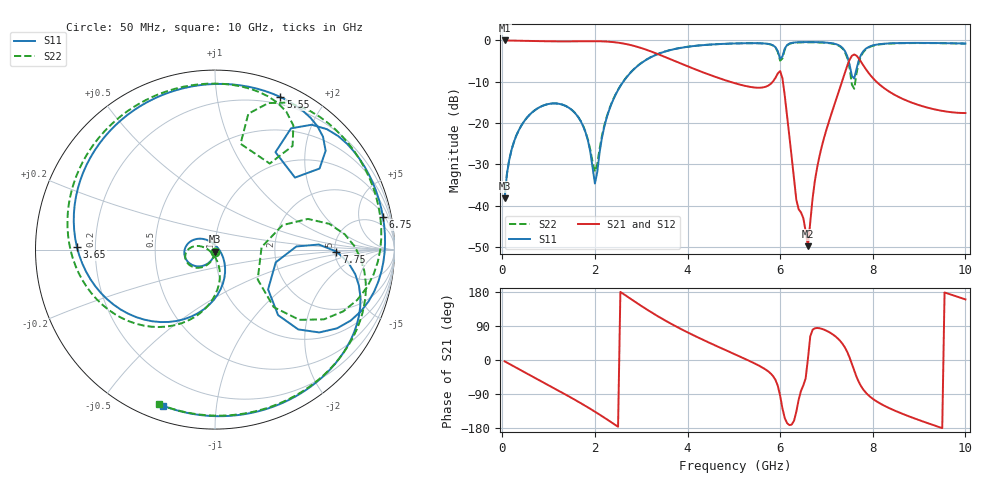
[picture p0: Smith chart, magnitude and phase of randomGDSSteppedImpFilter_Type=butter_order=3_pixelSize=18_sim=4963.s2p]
! freq	dB(S11)	phase(S11)	dB(S12)	phase(S12)
!  dB(S21)	phase(S21)	dB(S22)	phase(S22)
!S-par simulation data
#  GHz  S  DB  R 50
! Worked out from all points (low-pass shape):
!   200 points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, 50 MHz to 10 GHz, reference 50 ohm
!   highest |S21| = -0.01 dB at 50 MHz (marker M1); lowest = -49.9 dB at 6.6 GHz (marker M2)
!   |S21| within 3 dB of the highest: start of sweep to 3.291 GHz
!   lowest |S11| = -38.3 dB at 50 MHz (marker M3), VSWR 1.02, Z = 49.9 - j1.21 ohm
!   |S11| at or under -10 dB: start of sweep to 2.613 GHz
!   |S22| runs from -38.3 to -0.4 dB; largest |S21 - S12| = 0
!   S11 on the Smith chart (normalised r, x): 50 MHz: 1.00, -0.02; 3.65 GHz: 0.13, +0.01; 5.55 GHz: 0.13, +1.51; 6.75 GHz: 2, +10; 7.75 GHz: 5.17, -0.20; 10 GHz: 0.07, -0.72
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0.05  -38.30 -92.6  -0.01 -3.4  -0.01 -3.4  -38.31 -92.3
0.25  -24.63 -107.7  -0.04 -16.9  -0.04 -16.9  -24.63 -106.0
0.65  -17.38 -136.3  -0.14 -43.5  -0.14 -43.5  -17.38 -131.5
1.75  -20.88 138.7  -0.18 -117.9  -0.18 -117.9  -20.80 167.5
2  -34.67 50.8  -0.18 -136.4  -0.18 -136.4  -31.82 -140.7
2.45  -13.07 -81.8  -0.47 -172.1  -0.47 -172.1  -12.98 -86.7
3.4  -3.13 -163.0  -3.49 112.5  -3.49 112.5  -3.10 -154.1
3.65  -2.28 179.0  -4.64 95.2  -4.64 95.2  -2.26 -170.3
4.3  -1.17 137.6  -7.59 55.2  -7.59 55.2  -1.16 151.9
5.05  -0.72 95.0  -10.46 13.5  -10.46 13.5  -0.73 111.9
5.55  -0.68 66.8  -11.46 -15.4  -11.46 -15.4  -0.70 84.1
5.9  -1.66 41.8  -9.03 -52.8  -9.03 -52.8  -1.74 57.7
6.05  -3.89 58.2  -9.20 -128.1  -9.20 -128.1  -4.34 76.4
6.35  -0.47 35.3  -38.67 -135.8  -38.67 -135.8  -0.52 51.6
6.6  -0.40 19.8  -49.86 3.4  -49.86 3.4  -0.44 34.7
6.7  -0.41 14.0  -38.31 79.7  -38.31 79.7  -0.45 28.2
6.75  -0.41 11.1  -34.01 83.7  -34.01 83.7  -0.46 24.9
7.4  -2.59 -38.5  -7.74 32.7  -7.74 32.7  -2.85 -32.7
7.6  -9.23 -11.9  -3.41 -28.3  -3.41 -28.3  -11.70 3.1
7.75  -3.39 -0.9  -5.24 -69.7  -5.24 -69.7  -3.70 12.7
8.35  -0.72 -41.1  -12.37 -126.7  -12.37 -126.7  -0.77 -35.5
10  -0.75 -108.3  -17.60 159.9  -17.60 159.9  -0.77 -109.9
